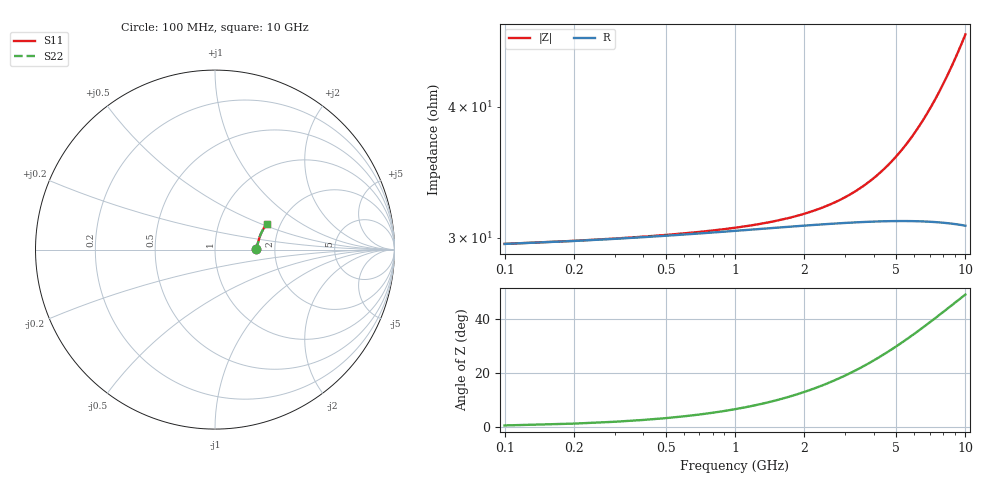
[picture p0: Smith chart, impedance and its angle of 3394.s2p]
# Hz S RI R 50.00
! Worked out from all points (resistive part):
!   100 points, 100 MHz to 10 GHz, reference 50 ohm
!   read as one part in series: R = 29.6 ohm at 100 MHz
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1e8  0.2285 0.00165  0.7715 -0.00255  0.7715 -0.00255  0.2285 0.00165
2e8  0.2296 0.00329  0.7704 -0.00509  0.7704 -0.00509  0.2296 0.00329
3e8  0.2305 0.00492  0.7695 -0.00762  0.7695 -0.00762  0.2305 0.00492
5e8  0.2318 0.00816  0.7682 -0.0127  0.7682 -0.0127  0.2318 0.00816
7e8  0.2328 0.0114  0.7671 -0.0177  0.7671 -0.0177  0.2328 0.0114
1e9  0.2342 0.0162  0.7658 -0.0252  0.7658 -0.0252  0.2342 0.0162
1.8e9  0.2372 0.0289  0.7626 -0.0451  0.7626 -0.0451  0.2372 0.0289
2.2e9  0.2387 0.0352  0.761 -0.055  0.761 -0.055  0.2387 0.0352
2.6e9  0.2403 0.0415  0.7594 -0.0649  0.7594 -0.0649  0.2403 0.0415
3e9  0.2419 0.0477  0.7576 -0.0747  0.7576 -0.0747  0.2419 0.0477
3.4e9  0.2437 0.0539  0.7558 -0.0845  0.7558 -0.0845  0.2437 0.0539
3.8e9  0.2455 0.06  0.7538 -0.0942  0.7538 -0.0942  0.2455 0.06
4.2e9  0.2475 0.066  0.7517 -0.1039  0.7517 -0.1039  0.2475 0.066
4.6e9  0.2496 0.072  0.7494 -0.1135  0.7494 -0.1135  0.2496 0.072
5.1e9  0.2524 0.0795  0.7464 -0.1254  0.7464 -0.1254  0.2524 0.0795
5.5e9  0.2548 0.0853  0.7438 -0.1349  0.7438 -0.1349  0.2548 0.0853
5.9e9  0.2573 0.0911  0.7411 -0.1443  0.7411 -0.1443  0.2573 0.0911
6.7e9  0.2627 0.1024  0.7352 -0.1628  0.7352 -0.1628  0.2627 0.1024
7.5e9  0.2686 0.1134  0.7288 -0.181  0.7288 -0.181  0.2686 0.1134
8.4e9  0.2759 0.1253  0.7208 -0.2011  0.7208 -0.2011  0.2759 0.1253
9.2e9  0.2829 0.1354  0.7132 -0.2185  0.7132 -0.2185  0.2829 0.1354
1e10  0.2903 0.1452  0.7051 -0.2355  0.7051 -0.2355  0.2903 0.1452
